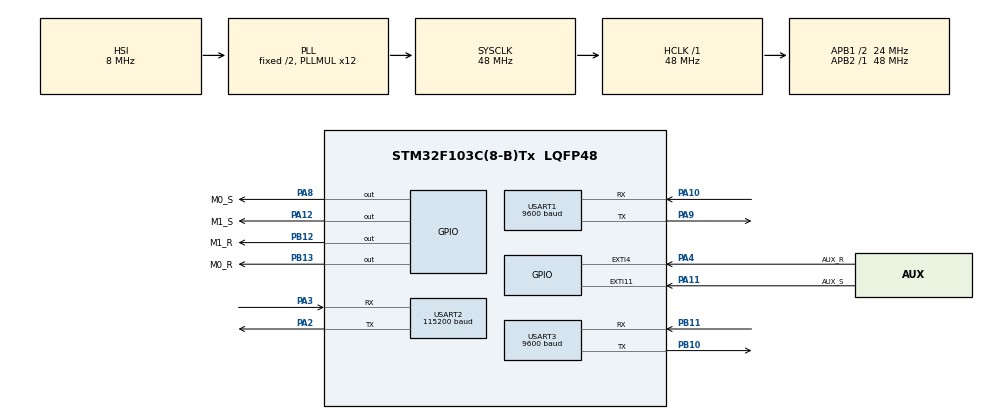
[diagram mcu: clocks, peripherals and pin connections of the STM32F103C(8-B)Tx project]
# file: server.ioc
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Dma.Request0=USART1_RX
Dma.Request1=USART3_TX
Dma.Request2=USART2_RX
Dma.Request3=USART2_TX
Dma.USART1_RX.0.Direction=DMA_PERIPH_TO_MEMORY
Dma.USART1_RX.0.Instance=DMA1_Channel5
Dma.USART1_RX.0.MemDataAlignment=DMA_MDATAALIGN_BYTE
Dma.USART1_RX.0.MemInc=DMA_MINC_ENABLE
Dma.USART1_RX.0.Mode=DMA_NORMAL
Dma.USART1_RX.0.PeriphDataAlignment=DMA_PDATAALIGN_BYTE
Dma.USART1_RX.0.PeriphInc=DMA_PINC_DISABLE
Dma.USART1_RX.0.Priority=DMA_PRIORITY_LOW
Dma.USART2_RX.2.Direction=DMA_PERIPH_TO_MEMORY
Dma.USART2_RX.2.Instance=DMA1_Channel6
Dma.USART2_RX.2.MemDataAlignment=DMA_MDATAALIGN_BYTE
Dma.USART2_RX.2.MemInc=DMA_MINC_ENABLE
Dma.USART2_RX.2.Mode=DMA_CIRCULAR
Dma.USART2_RX.2.PeriphDataAlignment=DMA_PDATAALIGN_BYTE
Dma.USART2_RX.2.PeriphInc=DMA_PINC_DISABLE
Dma.USART2_RX.2.Priority=DMA_PRIORITY_LOW
Dma.USART2_TX.3.Direction=DMA_MEMORY_TO_PERIPH
Dma.USART2_TX.3.Instance=DMA1_Channel7
Dma.USART2_TX.3.MemDataAlignment=DMA_MDATAALIGN_BYTE
Dma.USART2_TX.3.MemInc=DMA_MINC_ENABLE
Dma.USART2_TX.3.Mode=DMA_NORMAL
Dma.USART2_TX.3.PeriphDataAlignment=DMA_PDATAALIGN_BYTE
Dma.USART2_TX.3.PeriphInc=DMA_PINC_DISABLE
Dma.USART2_TX.3.Priority=DMA_PRIORITY_LOW
Dma.USART3_TX.1.Direction=DMA_MEMORY_TO_PERIPH
Dma.USART3_TX.1.Instance=DMA1_Channel2
Dma.USART3_TX.1.MemDataAlignment=DMA_MDATAALIGN_BYTE
Dma.USART3_TX.1.MemInc=DMA_MINC_ENABLE
Dma.USART3_TX.1.Mode=DMA_NORMAL
Dma.USART3_TX.1.PeriphDataAlignment=DMA_PDATAALIGN_BYTE
Dma.USART3_TX.1.PeriphInc=DMA_PINC_DISABLE
Dma.USART3_TX.1.Priority=DMA_PRIORITY_LOW
IWDG.Prescaler=IWDG_PRESCALER_64
IWDG.Reload=2500
Mcu.Family=STM32F1
Mcu.Name=STM32F103C(8-B)Tx
Mcu.Package=LQFP48
NVIC.DMA1_Channel2_IRQn=true\:0\:0\:false\:false\:true\:false
NVIC.DMA1_Channel5_IRQn=true\:0\:0\:false\:false\:true\:false
NVIC.DMA1_Channel6_IRQn=true\:0\:0\:false\:false\:true\:false
NVIC.DMA1_Channel7_IRQn=true\:0\:0\:false\:false\:true\:false
NVIC.EXTI15_10_IRQn=true\:0\:0\:false\:false\:true\:true
NVIC.EXTI4_IRQn=true\:0\:0\:false\:false\:true\:true
NVIC.FLASH_IRQn=true\:0\:0\:false\:false\:true\:true
NVIC.PriorityGroup=NVIC_PRIORITYGROUP_4
NVIC.RTC_IRQn=true\:0\:0\:false\:false\:true\:true
NVIC.TIM4_IRQn=true\:0\:0\:false\:false\:true\:true
NVIC.USART1_IRQn=true\:0\:0\:false\:false\:true\:true
NVIC.USART2_IRQn=true\:0\:0\:false\:false\:true\:true
NVIC.USART3_IRQn=true\:0\:0\:false\:false\:true\:true
PA10.Mode=Asynchronous
PA10.Signal=USART1_RX
PA11.GPIO_Label=AUX_S
PA11.GPIO_ModeDefaultEXTI=GPIO_MODE_IT_RISING_FALLING
PA11.GPIO_PuPd=GPIO_PULLUP
PA11.Signal=GPXTI11
PA12.GPIO_Label=M1_S
PA12.Signal=GPIO_Output
PA13.Mode=Serial_Wire
PA13.Signal=SYS_JTMS-SWDIO
PA14.Mode=Serial_Wire
PA14.Signal=SYS_JTCK-SWCLK
PA2.Mode=Asynchronous
PA2.Signal=USART2_TX
PA3.Mode=Asynchronous
PA3.Signal=USART2_RX
PA4.GPIO_Label=AUX_R
PA4.GPIO_ModeDefaultEXTI=GPIO_MODE_IT_RISING_FALLING
PA4.GPIO_PuPd=GPIO_PULLUP
PA4.Signal=GPXTI4
PA8.GPIO_Label=M0_S
PA8.Signal=GPIO_Output
PA9.Mode=Asynchronous
PA9.Signal=USART1_TX
PB10.Mode=Asynchronous
PB10.Signal=USART3_TX
PB11.Mode=Asynchronous
PB11.Signal=USART3_RX
PB12.GPIO_Label=M1_R
PB12.Signal=GPIO_Output
PB13.GPIO_Label=M0_R
PB13.Signal=GPIO_Output
ProjectManager.HeapSize=0x1000
ProjectManager.StackSize=0x400
ProjectManager.TargetToolchain=EWARM V7
RCC.AHBFreq_Value=48000000
RCC.APB1CLKDivider=RCC_HCLK_DIV2
RCC.APB1Freq_Value=24000000
RCC.APB1TimFreq_Value=48000000
RCC.APB2Freq_Value=48000000
RCC.APB2TimFreq_Value=48000000
RCC.HCLKFreq_Value=48000000
RCC.PLLMUL=RCC_PLL_MUL12
RCC.SYSCLKFreq_VALUE=48000000
RCC.SYSCLKSource=RCC_SYSCLKSOURCE_PLLCLK
RCC.USBFreq_Value=48000000
TIM4.AutoReloadPreload=TIM_AUTORELOAD_PRELOAD_ENABLE
TIM4.Period=10
TIM4.Prescaler=48000
USART1.BaudRate=9600
USART1.VirtualMode=VM_ASYNC
USART2.BaudRate=115200
USART2.VirtualMode=VM_ASYNC
USART3.BaudRate=9600
USART3.VirtualMode=VM_ASYNC
VP_IWDG_VS_IWDG.Mode=IWDG_Activate
VP_RTC_VS_RTC_Activate.Mode=RTC_Enabled
VP_RTC_VS_RTC_Calendar.Mode=RTC_Calendar
VP_TIM4_VS_ClockSourceINT.Mode=Internal
board=custom

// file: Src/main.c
/**
  ******************************************************************************
  * @file           : main.c
  * @brief          : Main program body
  ******************************************************************************
  ** This notice applies to any and all portions of this file
  * that are not between comment pairs USER CODE BEGIN and
  * USER CODE END. Other portions of this file, whether
  * inserted by the user or by software development tools
  * are owned by their respective copyright owners.
  *
  * COPYRIGHT(c) 2019 STMicroelectronics
  *
  * Redistribution and use in source and binary forms, with or without modification,
  * are permitted provided that the following conditions are met:
  *   1. Redistributions of source code must retain the above copyright notice,
  *      this list of conditions and the following disclaimer.
  *   2. Redistributions in binary form must reproduce the above copyright notice,
  *      this list of conditions and the following disclaimer in the documentation
  *      and/or other materials provided with the distribution.
  *   3. Neither the name of STMicroelectronics nor the names of its contributors
  *      may be used to endorse or promote products derived from this software
  *      without specific prior written permission.
  *
  * THIS SOFTWARE IS PROVIDED BY THE COPYRIGHT HOLDERS AND CONTRIBUTORS "AS IS"
  * AND ANY EXPRESS OR IMPLIED WARRANTIES, INCLUDING, BUT NOT LIMITED TO, THE
  * IMPLIED WARRANTIES OF MERCHANTABILITY AND FITNESS FOR A PARTICULAR PURPOSE ARE
  * DISCLAIMED. IN NO EVENT SHALL THE COPYRIGHT HOLDER OR CONTRIBUTORS BE LIABLE
  * FOR ANY DIRECT, INDIRECT, INCIDENTAL, SPECIAL, EXEMPLARY, OR CONSEQUENTIAL
  * DAMAGES (INCLUDING, BUT NOT LIMITED TO, PROCUREMENT OF SUBSTITUTE GOODS OR
  * SERVICES; LOSS OF USE, DATA, OR PROFITS; OR BUSINESS INTERRUPTION) HOWEVER
  * CAUSED AND ON ANY THEORY OF LIABILITY, WHETHER IN CONTRACT, STRICT LIABILITY,
  * OR TORT (INCLUDING NEGLIGENCE OR OTHERWISE) ARISING IN ANY WAY OUT OF THE USE
  * OF THIS SOFTWARE, EVEN IF ADVISED OF THE POSSIBILITY OF SUCH DAMAGE.
  *
  ******************************************************************************
  */
#include "main.h"
#include "stm32f1xx_hal.h"

/* USER CODE BEGIN Includes */
#include "Lora.h"
#include "maincontrol.h"
#include "flash_if.h"
#include "reboot.h"
#include "user_config.h"
#include "string.h"
#include "crc16.h"

/* USER CODE END Includes */

IWDG_HandleTypeDef hiwdg;

RTC_HandleTypeDef hrtc;

TIM_HandleTypeDef htim4;

UART_HandleTypeDef huart1;
UART_HandleTypeDef huart2;
UART_HandleTypeDef huart3;
DMA_HandleTypeDef hdma_usart1_rx;
DMA_HandleTypeDef hdma_usart2_rx;
DMA_HandleTypeDef hdma_usart2_tx;
DMA_HandleTypeDef hdma_usart3_tx;

/* USER CODE BEGIN PV */
/* Private variables ---------------------------------------------------------*/

/* USER CODE END PV */

void SystemClock_Config(void);
static void MX_GPIO_Init(void);
static void MX_DMA_Init(void);
static void MX_USART1_UART_Init(void);
static void MX_USART2_UART_Init(void);
static void MX_USART3_UART_Init(void);
static void MX_RTC_Init(void);
static void MX_TIM4_Init(void);
static void MX_IWDG_Init(void);

/* USER CODE BEGIN PFP */
/* Private function prototypes -----------------------------------------------*/

/* USER CODE END PFP */

int main(void)
{
  /* USER CODE BEGIN 1 */
  FLASH_If_Init();

  /* USER CODE END 1 */

  /* MCU Configuration----------------------------------------------------------*/

  /* Reset of all peripherals, Initializes the Flash interface and the Systick. */
  HAL_Init();

  /* Configure the system clock */
  SystemClock_Config();

  /* Initialize all configured peripherals */
  MX_GPIO_Init();
  MX_DMA_Init();
  MX_USART1_UART_Init();
  MX_USART2_UART_Init();
  MX_USART3_UART_Init();
  MX_RTC_Init();
  MX_TIM4_Init();
  MX_IWDG_Init();
  /* USER CODE BEGIN 2 */

  //初始化service，channel

  uint16_t serverID = READ_FLASH_HALFWORD(FLASH_SAVE_SECTION);
  uint16_t recv_channel = READ_FLASH_HALFWORD(FLASH_SAVE_SECTION+2);

  //与f405通信串口初始化
  UARTF405_Init(&huart2);
  //lora模块gpio引脚设置
  LoraModuleGPIOInit(&huart3);
  LoraModuleGPIOInit(&huart1);
  //lora模块参数配置
  //send
  LoraPar lp;
  lp.u16Addr = 0xfffe;
  lp.u8Baud = BAUD_115200;
  lp.u8Channel = 0;
  lp.u8FEC = FEC_ENABLE;
  lp.u8IOMode = IOMODE_PP;
  lp.u8Parity = PARITY_8O1;
  lp.u8SendDB = SEND_20DB;
  lp.u8Speedinair = SPEED_IN_AIR_19_2K;
  lp.u8TranferMode = TRANSFER_MODE_DINGDIAN;
  lp.u8WakeUpTime = WAKEUP_TIME_750MS;
  SetLoraParamter( &huart3, &lp);
  ReadLoraParamter( &huart3 );

  //recv
  lp.u16Addr = serverID;
  lp.u8Baud = BAUD_115200;
  lp.u8Channel = recv_channel;
  lp.u8FEC = FEC_ENABLE;
  lp.u8IOMode = IOMODE_PP;
  lp.u8Parity = PARITY_8O1;
  lp.u8SendDB = SEND_20DB;
  lp.u8Speedinair = SPEED_IN_AIR_19_2K;
  lp.u8TranferMode = TRANSFER_MODE_DINGDIAN;
  lp.u8WakeUpTime = WAKEUP_TIME_500MS;
  SetLoraParamter( &huart1, &lp);
  ReadLoraParamter( &huart1 );

  //lora模块的dma配置，并使能中断
  LoraModuleDMAInit( &huart3 );
  LoraModuleDMAInit( &huart1 );

  //设备链表初始化
  ListInit();

  /* USER CODE END 2 */

  /* Infinite loop */
  /* USER CODE BEGIN WHILE */
  DEBUG_INFO("start while\r\n");

  //使能定时器4
  HAL_TIM_Base_Start_IT(&htim4);

  T_BootConfig stBootConfig;
  memcpy(&stBootConfig, (char *)BOOT_CONFIG_ADDR, sizeof(T_BootConfig));

  if(0 == stBootConfig.ucBootSeccessFlg)
  {
    stBootConfig.ucBootSeccessFlg = 1;
    stBootConfig.ucTryTimes = 0;
    stBootConfig.ucBootType = 0;

    uint32_t resp_code = 0;
    if(0 == strcmp((char *)stBootConfig.ucFWVer, (char *)stBootConfig.ucNewFWVer))
    {
      resp_code = GET_RECOVERY_BIN_FIN;

    }
    else
    {
      resp_code = GET_RUN_BIN_FIN;
      strcpy((char *)stBootConfig.ucFWVer, (char *)stBootConfig.ucNewFWVer);
    }

    UartSendVerMSGToF405(resp_code, CURRENT_FIRMWARE_VERSION);

    memset(stBootConfig.ucNewFWVer, 0, VERSION_LEN);

    HAL_IWDG_Refresh(&hiwdg);
    FLASH_If_Erase(BOOT_CONFIG_ADDR);

    HAL_IWDG_Refresh(&hiwdg);
    FLASH_If_Write(BOOT_CONFIG_ADDR, (uint32_t*)(&stBootConfig), sizeof(T_BootConfig));

  }

  while (1)
  {

  /* USER CODE END WHILE */

  /* USER CODE BEGIN 3 */
    LoraModuleTask();
    F405Task();
    ListTask();
  }
  /* USER CODE END 3 */

}

void SystemClock_Config(void)
{

  RCC_OscInitTypeDef RCC_OscInitStruct;
  RCC_ClkInitTypeDef RCC_ClkInitStruct;
  RCC_PeriphCLKInitTypeDef PeriphClkInit;

    /**Initializes the CPU, AHB and APB busses clocks
    */
  RCC_OscInitStruct.OscillatorType = RCC_OSCILLATORTYPE_HSI|RCC_OSCILLATORTYPE_LSI;
  RCC_OscInitStruct.HSIState = RCC_HSI_ON;
  RCC_OscInitStruct.HSICalibrationValue = 16;
  RCC_OscInitStruct.LSIState = RCC_LSI_ON;
  RCC_OscInitStruct.PLL.PLLState = RCC_PLL_ON;
  RCC_OscInitStruct.PLL.PLLSource = RCC_PLLSOURCE_HSI_DIV2;
  RCC_OscInitStruct.PLL.PLLMUL = RCC_PLL_MUL12;
  if (HAL_RCC_OscConfig(&RCC_OscInitStruct) != HAL_OK)
  {
    _Error_Handler(__FILE__, __LINE__);
  }

    /**Initializes the CPU, AHB and APB busses clocks
    */
  RCC_ClkInitStruct.ClockType = RCC_CLOCKTYPE_HCLK|RCC_CLOCKTYPE_SYSCLK
                              |RCC_CLOCKTYPE_PCLK1|RCC_CLOCKTYPE_PCLK2;
  RCC_ClkInitStruct.SYSCLKSource = RCC_SYSCLKSOURCE_PLLCLK;
  RCC_ClkInitStruct.AHBCLKDivider = RCC_SYSCLK_DIV1;
  RCC_ClkInitStruct.APB1CLKDivider = RCC_HCLK_DIV2;
  RCC_ClkInitStruct.APB2CLKDivider = RCC_HCLK_DIV1;

  if (HAL_RCC_ClockConfig(&RCC_ClkInitStruct, FLASH_LATENCY_1) != HAL_OK)
  {
    _Error_Handler(__FILE__, __LINE__);
  }

  PeriphClkInit.PeriphClockSelection = RCC_PERIPHCLK_RTC;
  PeriphClkInit.RTCClockSelection = RCC_RTCCLKSOURCE_LSI;
  if (HAL_RCCEx_PeriphCLKConfig(&PeriphClkInit) != HAL_OK)
  {
    _Error_Handler(__FILE__, __LINE__);
  }

    /**Configure the Systick interrupt time
    */
  HAL_SYSTICK_Config(HAL_RCC_GetHCLKFreq()/1000);

    /**Configure the Systick
    */
  HAL_SYSTICK_CLKSourceConfig(SYSTICK_CLKSOURCE_HCLK);

  /* SysTick_IRQn interrupt configuration */
  HAL_NVIC_SetPriority(SysTick_IRQn, 0, 0);
}

/* IWDG init function */
static void MX_IWDG_Init(void)
{

  hiwdg.Instance = IWDG;
  hiwdg.Init.Prescaler = IWDG_PRESCALER_64;
  hiwdg.Init.Reload = 2500;
  if (HAL_IWDG_Init(&hiwdg) != HAL_OK)
  {
    _Error_Handler(__FILE__, __LINE__);
  }

}

/* RTC init function */
static void MX_RTC_Init(void)
{

  RTC_TimeTypeDef sTime;
  RTC_DateTypeDef DateToUpdate;

    /**Initialize RTC Only
    */
  hrtc.Instance = RTC;
  hrtc.Init.AsynchPrediv = RTC_AUTO_1_SECOND;
  hrtc.Init.OutPut = RTC_OUTPUTSOURCE_ALARM;
  if (HAL_RTC_Init(&hrtc) != HAL_OK)
  {
    _Error_Handler(__FILE__, __LINE__);
  }

    /**Initialize RTC and set the Time and Date
    */
  sTime.Hours = 0x0;
  sTime.Minutes = 0x0;
  sTime.Seconds = 0x0;

  if (HAL_RTC_SetTime(&hrtc, &sTime, RTC_FORMAT_BCD) != HAL_OK)
  {
    _Error_Handler(__FILE__, __LINE__);
  }

  DateToUpdate.WeekDay = RTC_WEEKDAY_MONDAY;
  DateToUpdate.Month = RTC_MONTH_JANUARY;
  DateToUpdate.Date = 0x1;
  DateToUpdate.Year = 0x0;

  if (HAL_RTC_SetDate(&hrtc, &DateToUpdate, RTC_FORMAT_BCD) != HAL_OK)
  {
    _Error_Handler(__FILE__, __LINE__);
  }

}

/* TIM4 init function */
static void MX_TIM4_Init(void)
{

  TIM_ClockConfigTypeDef sClockSourceConfig;
  TIM_MasterConfigTypeDef sMasterConfig;

  htim4.Instance = TIM4;
  htim4.Init.Prescaler = 48000;
  htim4.Init.CounterMode = TIM_COUNTERMODE_UP;
  htim4.Init.Period = 10;
  htim4.Init.ClockDivision = TIM_CLOCKDIVISION_DIV1;
  htim4.Init.AutoReloadPreload = TIM_AUTORELOAD_PRELOAD_ENABLE;
  if (HAL_TIM_Base_Init(&htim4) != HAL_OK)
  {
    _Error_Handler(__FILE__, __LINE__);
  }

  sClockSourceConfig.ClockSource = TIM_CLOCKSOURCE_INTERNAL;
  if (HAL_TIM_ConfigClockSource(&htim4, &sClockSourceConfig) != HAL_OK)
  {
    _Error_Handler(__FILE__, __LINE__);
  }

  sMasterConfig.MasterOutputTrigger = TIM_TRGO_RESET;
  sMasterConfig.MasterSlaveMode = TIM_MASTERSLAVEMODE_DISABLE;
  if (HAL_TIMEx_MasterConfigSynchronization(&htim4, &sMasterConfig) != HAL_OK)
  {
    _Error_Handler(__FILE__, __LINE__);
  }

}

/* USART1 init function */
static void MX_USART1_UART_Init(void)
{

  huart1.Instance = USART1;
  huart1.Init.BaudRate = 9600;
  huart1.Init.WordLength = UART_WORDLENGTH_8B;
  huart1.Init.StopBits = UART_STOPBITS_1;
  huart1.Init.Parity = UART_PARITY_NONE;
  huart1.Init.Mode = UART_MODE_TX_RX;
  huart1.Init.HwFlowCtl = UART_HWCONTROL_NONE;
  huart1.Init.OverSampling = UART_OVERSAMPLING_16;
  if (HAL_UART_Init(&huart1) != HAL_OK)
  {
    _Error_Handler(__FILE__, __LINE__);
  }

}

/* USART2 init function */
static void MX_USART2_UART_Init(void)
{

  huart2.Instance = USART2;
  huart2.Init.BaudRate = 115200;
  huart2.Init.WordLength = UART_WORDLENGTH_8B;
  huart2.Init.StopBits = UART_STOPBITS_1;
  huart2.Init.Parity = UART_PARITY_NONE;
  huart2.Init.Mode = UART_MODE_TX_RX;
  huart2.Init.HwFlowCtl = UART_HWCONTROL_NONE;
  huart2.Init.OverSampling = UART_OVERSAMPLING_16;
  if (HAL_UART_Init(&huart2) != HAL_OK)
  {
    _Error_Handler(__FILE__, __LINE__);
  }

}

/* USART3 init function */
static void MX_USART3_UART_Init(void)
{

  huart3.Instance = USART3;
  huart3.Init.BaudRate = 9600;
  huart3.Init.WordLength = UART_WORDLENGTH_8B;
  huart3.Init.StopBits = UART_STOPBITS_1;
  huart3.Init.Parity = UART_PARITY_NONE;
  huart3.Init.Mode = UART_MODE_TX_RX;
  huart3.Init.HwFlowCtl = UART_HWCONTROL_NONE;
  huart3.Init.OverSampling = UART_OVERSAMPLING_16;
  if (HAL_UART_Init(&huart3) != HAL_OK)
  {
    _Error_Handler(__FILE__, __LINE__);
  }

}

static void MX_DMA_Init(void)
{
  /* DMA controller clock enable */
  __HAL_RCC_DMA1_CLK_ENABLE();

  /* DMA interrupt init */
  /* DMA1_Channel2_IRQn interrupt configuration */
  HAL_NVIC_SetPriority(DMA1_Channel2_IRQn, 0, 0);
  HAL_NVIC_EnableIRQ(DMA1_Channel2_IRQn);
  /* DMA1_Channel5_IRQn interrupt configuration */
  HAL_NVIC_SetPriority(DMA1_Channel5_IRQn, 0, 0);
  HAL_NVIC_EnableIRQ(DMA1_Channel5_IRQn);
  /* DMA1_Channel6_IRQn interrupt configuration */
  HAL_NVIC_SetPriority(DMA1_Channel6_IRQn, 0, 0);
  HAL_NVIC_EnableIRQ(DMA1_Channel6_IRQn);
  /* DMA1_Channel7_IRQn interrupt configuration */
  HAL_NVIC_SetPriority(DMA1_Channel7_IRQn, 0, 0);
  HAL_NVIC_EnableIRQ(DMA1_Channel7_IRQn);

}

/** Configure pins as
        * Analog
        * Input
        * Output
        * EVENT_OUT
        * EXTI
*/
static void MX_GPIO_Init(void)
{

  GPIO_InitTypeDef GPIO_InitStruct;

  /* GPIO Ports Clock Enable */
  __HAL_RCC_GPIOA_CLK_ENABLE();
  __HAL_RCC_GPIOB_CLK_ENABLE();

  /*Configure GPIO pin Output Level */
  HAL_GPIO_WritePin(GPIOB, M1_R_Pin|M0_R_Pin, GPIO_PIN_RESET);

  /*Configure GPIO pin Output Level */
  HAL_GPIO_WritePin(GPIOA, M0_S_Pin|M1_S_Pin, GPIO_PIN_RESET);

  /*Configure GPIO pins : AUX_R_Pin AUX_S_Pin */
  GPIO_InitStruct.Pin = AUX_R_Pin|AUX_S_Pin;
  GPIO_InitStruct.Mode = GPIO_MODE_IT_RISING_FALLING;
  GPIO_InitStruct.Pull = GPIO_PULLUP;
  HAL_GPIO_Init(GPIOA, &GPIO_InitStruct);

  /*Configure GPIO pins : M1_R_Pin M0_R_Pin */
  GPIO_InitStruct.Pin = M1_R_Pin|M0_R_Pin;
  GPIO_InitStruct.Mode = GPIO_MODE_OUTPUT_PP;
  GPIO_InitStruct.Pull = GPIO_NOPULL;
  GPIO_InitStruct.Speed = GPIO_SPEED_FREQ_LOW;
  HAL_GPIO_Init(GPIOB, &GPIO_InitStruct);

  /*Configure GPIO pins : M0_S_Pin M1_S_Pin */
  GPIO_InitStruct.Pin = M0_S_Pin|M1_S_Pin;
  GPIO_InitStruct.Mode = GPIO_MODE_OUTPUT_PP;
  GPIO_InitStruct.Pull = GPIO_NOPULL;
  GPIO_InitStruct.Speed = GPIO_SPEED_FREQ_LOW;
  HAL_GPIO_Init(GPIOA, &GPIO_InitStruct);

  /* EXTI interrupt init*/
  HAL_NVIC_SetPriority(EXTI4_IRQn, 0, 0);
  HAL_NVIC_EnableIRQ(EXTI4_IRQn);

  HAL_NVIC_SetPriority(EXTI15_10_IRQn, 0, 0);
  HAL_NVIC_EnableIRQ(EXTI15_10_IRQn);

}

void _Error_Handler(char *file, int line)
{
  while(1)
  {
  }
}

/************************ (C) COPYRIGHT STMicroelectronics *****END OF FILE****/
